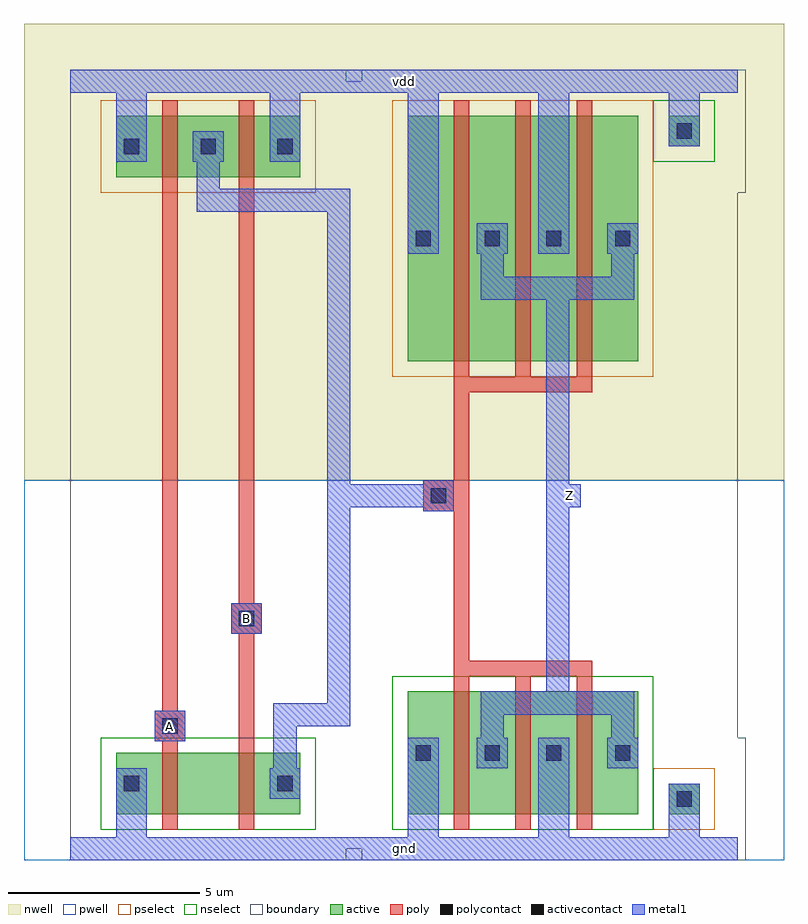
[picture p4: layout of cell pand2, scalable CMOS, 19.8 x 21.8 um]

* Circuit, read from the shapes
.subckt pand2 A B Z gnd vdd
M1 pnand2_0_0/nmos_m1_w1_600_sm1_dactive_2/D A gnd gnd nfet w=1.6u l=0.4u
M2 pdriver_1/A B pnand2_0_0/nmos_m1_w1_600_sm1_dactive_2/D gnd nfet w=1.6u l=0.4u
M3 Z pdriver_1/A gnd gnd nfet w=3.2u l=0.4u m=3
M4 pdriver_1/A A vdd vdd pfet w=1.6u l=0.4u
M5 vdd B pdriver_1/A vdd pfet w=1.6u l=0.4u
M6 Z pdriver_1/A vdd vdd pfet w=6.4u l=0.4u m=3
.ends

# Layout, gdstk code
import gdstk
lib = gdstk.Library(unit=1e-6, precision=1e-09)
def R(c, l, rs):  # rectangles x0, y0, x1, y1
    for r in rs: c.add(gdstk.rectangle(r[:2], r[2:], *l))
def A(c, l, x, y, w, h, nx, ny, dx, dy):  # array of equal rectangles
    R(c, l, [(x+i*dx, y+j*dy, x+i*dx+w, y+j*dy+h) for i in range(nx) for j in range(ny)])
pwell = (41, 0)
nwell = (42, 0)
active = (43, 0)
pselect = (44, 0)
nselect = (45, 0)
poly = (46, 0)
polycontact = (47, 0)
activecontact = (48, 0)
metal1 = (49, 0)
boundary = (63, 0)

contact_10 = lib.new_cell('contact_10')
R(contact_10, nwell, [(-1.2,-1.2,2,2)])
R(contact_10, active, [(0,0,0.8,0.8)])
R(contact_10, pselect, [(-0.4,-0.4,1.2,1.2)])
R(contact_10, activecontact, [(0.2,0.2,0.6,0.6)])
R(contact_10, metal1, [(0,0,0.8,0.8)])
R(contact_10, boundary, [(-1.2,-1.2,2,2)])

pmos_m1_w1_600_sm1_dm1 = lib.new_cell('pmos_m1_w1_600_sm1_dm1')
R(pmos_m1_w1_600_sm1_dm1, nwell, [(-1.2,-1.2,4,2.8)])
R(pmos_m1_w1_600_sm1_dm1, active, [(0,0,2.8,1.6)])
R(pmos_m1_w1_600_sm1_dm1, pselect, [(-0.4,-0.4,3.2,2)])
R(pmos_m1_w1_600_sm1_dm1, poly, [(1.2,-0.4,1.6,2), (1.2,-0.4,1.6,2)])
R(pmos_m1_w1_600_sm1_dm1, metal1, [(0,0.4,0.8,1.2), (2,0.4,2.8,1.2)])
R(pmos_m1_w1_600_sm1_dm1, boundary, [(-1.2,-1.2,4,2.8)])
pmos_m1_w1_600_sm1_dm1.add(gdstk.Reference(contact_10, (0,0.4)))
pmos_m1_w1_600_sm1_dm1.add(gdstk.Reference(contact_10, (2,0.4)))
pmos_m1_w1_600_sm1_dm1.add(gdstk.Label('G', (1.4,0.8), layer=46, texttype=0))
pmos_m1_w1_600_sm1_dm1.add(gdstk.Label('S', (0.4,0.8), layer=49, texttype=0))
pmos_m1_w1_600_sm1_dm1.add(gdstk.Label('D', (2.4,0.8), layer=49, texttype=0))

contact_9 = lib.new_cell('contact_9')
R(contact_9, pwell, [(-1.2,-1.2,2,2)])
R(contact_9, active, [(0,0,0.8,0.8)])
R(contact_9, nselect, [(-0.4,-0.4,1.2,1.2)])
R(contact_9, activecontact, [(0.2,0.2,0.6,0.6)])
R(contact_9, metal1, [(0,0,0.8,0.8)])
R(contact_9, boundary, [(-1.2,-1.2,2,2)])

nmos_m1_w1_600_sm1_dacti = lib.new_cell('nmos_m1_w1_600_sm1_dactive')
R(nmos_m1_w1_600_sm1_dacti, pwell, [(-1.2,-1.2,4,2.8)])
R(nmos_m1_w1_600_sm1_dacti, active, [(0,0,2.8,1.6), (2.1,0.5,2.7,1.1)])
R(nmos_m1_w1_600_sm1_dacti, nselect, [(-0.4,-0.4,3.2,2)])
R(nmos_m1_w1_600_sm1_dacti, poly, [(1.2,-0.4,1.6,2), (1.2,-0.4,1.6,2)])
R(nmos_m1_w1_600_sm1_dacti, metal1, [(0,0.4,0.8,1.2)])
R(nmos_m1_w1_600_sm1_dacti, boundary, [(-1.2,-1.2,4,2.8)])
nmos_m1_w1_600_sm1_dacti.add(gdstk.Reference(contact_9, (0,0.4)))
nmos_m1_w1_600_sm1_dacti.add(gdstk.Label('G', (1.4,0.8), layer=46, texttype=0))
nmos_m1_w1_600_sm1_dacti.add(gdstk.Label('S', (0.4,0.8), layer=49, texttype=0))
nmos_m1_w1_600_sm1_dacti.add(gdstk.Label('D', (2.4,0.8), layer=43, texttype=0))

nmos_m1_w1_600_sactive_d = lib.new_cell('nmos_m1_w1_600_sactive_dm1')
R(nmos_m1_w1_600_sactive_d, pwell, [(-1.2,-1.2,4,2.8)])
R(nmos_m1_w1_600_sactive_d, active, [(0,0,2.8,1.6), (0.1,0.5,0.7,1.1)])
R(nmos_m1_w1_600_sactive_d, nselect, [(-0.4,-0.4,3.2,2)])
R(nmos_m1_w1_600_sactive_d, poly, [(1.2,-0.4,1.6,2), (1.2,-0.4,1.6,2)])
R(nmos_m1_w1_600_sactive_d, metal1, [(2,0.4,2.8,1.2)])
R(nmos_m1_w1_600_sactive_d, boundary, [(-1.2,-1.2,4,2.8)])
nmos_m1_w1_600_sactive_d.add(gdstk.Reference(contact_9, (2,0.4)))
nmos_m1_w1_600_sactive_d.add(gdstk.Label('G', (1.4,0.8), layer=46, texttype=0))
nmos_m1_w1_600_sactive_d.add(gdstk.Label('S', (0.4,0.8), layer=43, texttype=0))
nmos_m1_w1_600_sactive_d.add(gdstk.Label('D', (2.4,0.8), layer=49, texttype=0))

contact_13 = lib.new_cell('contact_13')
R(contact_13, poly, [(0,0,0.8,0.8)])
R(contact_13, polycontact, [(0.2,0.2,0.6,0.6)])
R(contact_13, metal1, [(0,0,0.8,0.8)])
R(contact_13, boundary, [(0,0,0.8,0.8)])

pnand2_0 = lib.new_cell('pnand2_0')
R(pnand2_0, pwell, [(-1.2,-0.3,8.8,9.6)])
R(pnand2_0, nwell, [(-1.2,9.6,8.8,21.5)])
R(pnand2_0, poly, [(2.4,2.8,2.6,3.6), (2.4,2.9,2.8,17.1), (4.4,2.9,4.8,17.1), (4.4,5.6,4.6,6.4)])
R(pnand2_0, metal1, [(0,-0.3,7.6,0.3), (1.2,-0.3,2,1.3), (5.3,2.1,5.9,3.5), (2.2,2.8,3,3.6), (5.3,3.2,5.9,3.8), (5.6,3.2,7,3.8), (6.7,3.2,7.3,3.8), (6.7,3.5,7.3,16.9), (4.2,5.6,5,6.4), (3.3,16.6,3.9,17.2), (3.6,16.6,7,17.2), (6.7,16.6,7.3,17.2), (3.3,16.9,3.9,17.9), (1.2,17.9,2,20.3), (5.2,17.9,6,20.3), (0,19.7,7.6,20.3)])
R(pnand2_0, boundary, [(0,0,7.6,20), (0,0,7.6,20)])
pnand2_0.add(gdstk.Reference(pmos_m1_w1_600_sm1_dm1, (1.2,17.5)))
pnand2_0.add(gdstk.Reference(pmos_m1_w1_600_sm1_dm1, (3.2,17.5)))
pnand2_0.add(gdstk.Reference(nmos_m1_w1_600_sm1_dacti, (1.2,0.9)))
pnand2_0.add(gdstk.Reference(nmos_m1_w1_600_sactive_d, (3.2,0.9)))
pnand2_0.add(gdstk.Reference(contact_13, (2.2,2.8)))
pnand2_0.add(gdstk.Reference(contact_13, (4.2,5.6)))
pnand2_0.add(gdstk.Label('Z', (7,16.9), layer=49, texttype=0))
pnand2_0.add(gdstk.Label('gnd', (3.8,0), layer=49, texttype=0))
pnand2_0.add(gdstk.Label('vdd', (3.8,20), layer=49, texttype=0))
pnand2_0.add(gdstk.Label('A', (2.6,3.2), layer=49, texttype=0))
pnand2_0.add(gdstk.Label('B', (4.6,6), layer=49, texttype=0))

pmos_m3_w6_400_sm1_dm1_d = lib.new_cell('pmos_m3_w6_400_sm1_dm1_da_p')
R(pmos_m3_w6_400_sm1_dm1_d, nwell, [(-1.2,-1.2,7.2,7.6)])
R(pmos_m3_w6_400_sm1_dm1_d, active, [(0,0,6,6.4)])
R(pmos_m3_w6_400_sm1_dm1_d, pselect, [(-0.4,-0.4,6.4,6.8)])
A(pmos_m3_w6_400_sm1_dm1_d, poly, 1.2, -0.4, 0.4, 7.2, 3, 1, 1.6, 0)
R(pmos_m3_w6_400_sm1_dm1_d, poly, [(1.2,-0.8,4.8,-0.4)])
R(pmos_m3_w6_400_sm1_dm1_d, metal1, [(1.9,1.6,5.9,2.2), (1.9,1.9,2.5,3.2), (5.3,1.9,5.9,3.2), (0,2.8,0.8,3.6), (3.4,2.8,4.2,3.6)])
R(pmos_m3_w6_400_sm1_dm1_d, boundary, [(-1.2,-1.2,7.2,7.6)])
pmos_m3_w6_400_sm1_dm1_d.add(gdstk.Reference(contact_10, (0,2.8)))
pmos_m3_w6_400_sm1_dm1_d.add(gdstk.Reference(contact_10, (1.8,2.8)))
pmos_m3_w6_400_sm1_dm1_d.add(gdstk.Reference(contact_10, (3.4,2.8)))
pmos_m3_w6_400_sm1_dm1_d.add(gdstk.Reference(contact_10, (5.2,2.8)))
pmos_m3_w6_400_sm1_dm1_d.add(gdstk.Label('G', (3,-0.6), layer=46, texttype=0))
pmos_m3_w6_400_sm1_dm1_d.add(gdstk.Label('S', (0.4,3.2), layer=49, texttype=0))
pmos_m3_w6_400_sm1_dm1_d.add(gdstk.Label('S', (3.8,3.2), layer=49, texttype=0))
pmos_m3_w6_400_sm1_dm1_d.add(gdstk.Label('D', (3.9,1.9), layer=49, texttype=0))

nmos_m3_w3_200_sm1_dm1_d = lib.new_cell('nmos_m3_w3_200_sm1_dm1_da_p')
R(nmos_m3_w3_200_sm1_dm1_d, pwell, [(-1.2,-1.2,7.2,4.4)])
R(nmos_m3_w3_200_sm1_dm1_d, active, [(0,0,6,3.2)])
R(nmos_m3_w3_200_sm1_dm1_d, nselect, [(-0.4,-0.4,6.4,3.6)])
A(nmos_m3_w3_200_sm1_dm1_d, poly, 1.2, -0.4, 0.4, 4, 3, 1, 1.6, 0)
R(nmos_m3_w3_200_sm1_dm1_d, poly, [(1.2,3.6,4.8,4)])
R(nmos_m3_w3_200_sm1_dm1_d, metal1, [(0,1.2,0.8,2), (3.4,1.2,4.2,2), (1.9,1.6,2.5,2.9), (5.3,1.6,5.9,2.9), (1.9,2.6,5.9,3.2)])
R(nmos_m3_w3_200_sm1_dm1_d, boundary, [(-1.2,-1.2,7.2,4.4)])
nmos_m3_w3_200_sm1_dm1_d.add(gdstk.Reference(contact_9, (0,1.2)))
nmos_m3_w3_200_sm1_dm1_d.add(gdstk.Reference(contact_9, (1.8,1.2)))
nmos_m3_w3_200_sm1_dm1_d.add(gdstk.Reference(contact_9, (3.4,1.2)))
nmos_m3_w3_200_sm1_dm1_d.add(gdstk.Reference(contact_9, (5.2,1.2)))
nmos_m3_w3_200_sm1_dm1_d.add(gdstk.Label('G', (3,3.8), layer=46, texttype=0))
nmos_m3_w3_200_sm1_dm1_d.add(gdstk.Label('S', (3.8,1.6), layer=49, texttype=0))
nmos_m3_w3_200_sm1_dm1_d.add(gdstk.Label('S', (0.4,1.6), layer=49, texttype=0))
nmos_m3_w3_200_sm1_dm1_d.add(gdstk.Label('D', (3.9,2.9), layer=49, texttype=0))

contact_11 = lib.new_cell('contact_11')
R(contact_11, nwell, [(-1.2,-1.2,2,2)])
R(contact_11, active, [(0,0,0.8,0.8)])
R(contact_11, nselect, [(-0.4,-0.4,1.2,1.2)])
R(contact_11, activecontact, [(0.2,0.2,0.6,0.6)])
R(contact_11, metal1, [(0,0,0.8,0.8)])
R(contact_11, boundary, [(-1.2,-1.2,2,2)])

contact_12 = lib.new_cell('contact_12')
R(contact_12, pwell, [(-1.2,-1.2,2,2)])
R(contact_12, active, [(0,0,0.8,0.8)])
R(contact_12, pselect, [(-0.4,-0.4,1.2,1.2)])
R(contact_12, activecontact, [(0.2,0.2,0.6,0.6)])
R(contact_12, metal1, [(0,0,0.8,0.8)])
R(contact_12, boundary, [(-1.2,-1.2,2,2)])

pinv_5 = lib.new_cell('pinv_5')
R(pinv_5, pwell, [(-1.2,-0.3,11,9.6)])
R(pinv_5, nwell, [(-1.2,9.6,11,21.5)])
R(pinv_5, poly, [(2.4,4.9,2.8,11.9), (2,8.8,2.4,9.6)])
R(pinv_5, metal1, [(0,-0.3,9.8,0.3), (1.2,-0.3,2,2.1), (4.6,-0.3,5.4,2.1), (8,0,8.8,1.3), (4.8,3.5,5.4,14.9), (1.6,8.8,2.4,9.6), (5.1,8.9,5.7,9.5), (1.2,15.5,2,20.3), (4.6,15.5,5.4,20.3), (8,18.7,8.8,20), (0,19.7,9.8,20.3)])
R(pinv_5, boundary, [(0,0,9.8,20), (0,0,9.8,20)])
pinv_5.add(gdstk.Reference(pmos_m3_w6_400_sm1_dm1_d, (1.2,12.7)))
pinv_5.add(gdstk.Reference(nmos_m3_w3_200_sm1_dm1_d, (1.2,0.9)))
pinv_5.add(gdstk.Reference(contact_11, (8,18.3)))
pinv_5.add(gdstk.Reference(contact_12, (8,0.9)))
pinv_5.add(gdstk.Reference(contact_13, (1.6,8.8)))
pinv_5.add(gdstk.Label('A', (2,9.2), layer=49, texttype=0))
pinv_5.add(gdstk.Label('Z', (5.4,9.2), layer=49, texttype=0))
pinv_5.add(gdstk.Label('gnd', (4.9,0), layer=49, texttype=0))
pinv_5.add(gdstk.Label('vdd', (4.9,20), layer=49, texttype=0))

pdriver = lib.new_cell('pdriver')
R(pdriver, pwell, [(-1.2,-0.3,11,9.6)])
R(pdriver, nwell, [(-1.2,9.6,11,21.5)])
R(pdriver, metal1, [(0,-0.3,9.8,0.3), (1.6,8.8,2.4,9.6), (5.1,8.9,5.7,9.5), (0,19.7,9.8,20.3)])
R(pdriver, boundary, [(0,0,9.8,20), (0,0,9.8,20)])
pdriver.add(gdstk.Reference(pinv_5, (0,0)))
pdriver.add(gdstk.Label('Z', (5.4,9.2), layer=49, texttype=0))
pdriver.add(gdstk.Label('A', (2,9.2), layer=49, texttype=0))
pdriver.add(gdstk.Label('gnd', (4.9,0), layer=49, texttype=0))
pdriver.add(gdstk.Label('vdd', (4.9,20), layer=49, texttype=0))

pand2 = lib.new_cell('pand2')
R(pand2, metal1, [(0,-0.3,17.4,0.3), (2.2,2.8,3,3.6), (4.2,5.6,5,6.4), (6.7,8.9,7.3,9.5), (7,8.9,9.6,9.5), (12.7,8.9,13.3,9.5), (6.7,9.2,7.3,16.9), (0,19.7,17.4,20.3)])
R(pand2, boundary, [(0,0,17.4,20), (0,0,17.4,20)])
pand2.add(gdstk.Reference(pnand2_0, (0,0)))
pand2.add(gdstk.Reference(pdriver, (7.6,0)))
pand2.add(gdstk.Label('Z', (13,9.2), layer=49, texttype=0))
pand2.add(gdstk.Label('A', (2.6,3.2), layer=49, texttype=0))
pand2.add(gdstk.Label('B', (4.6,6), layer=49, texttype=0))
pand2.add(gdstk.Label('gnd', (8.7,0), layer=49, texttype=0))
pand2.add(gdstk.Label('vdd', (8.7,20), layer=49, texttype=0))

lib.write_gds('pand2.gds')
